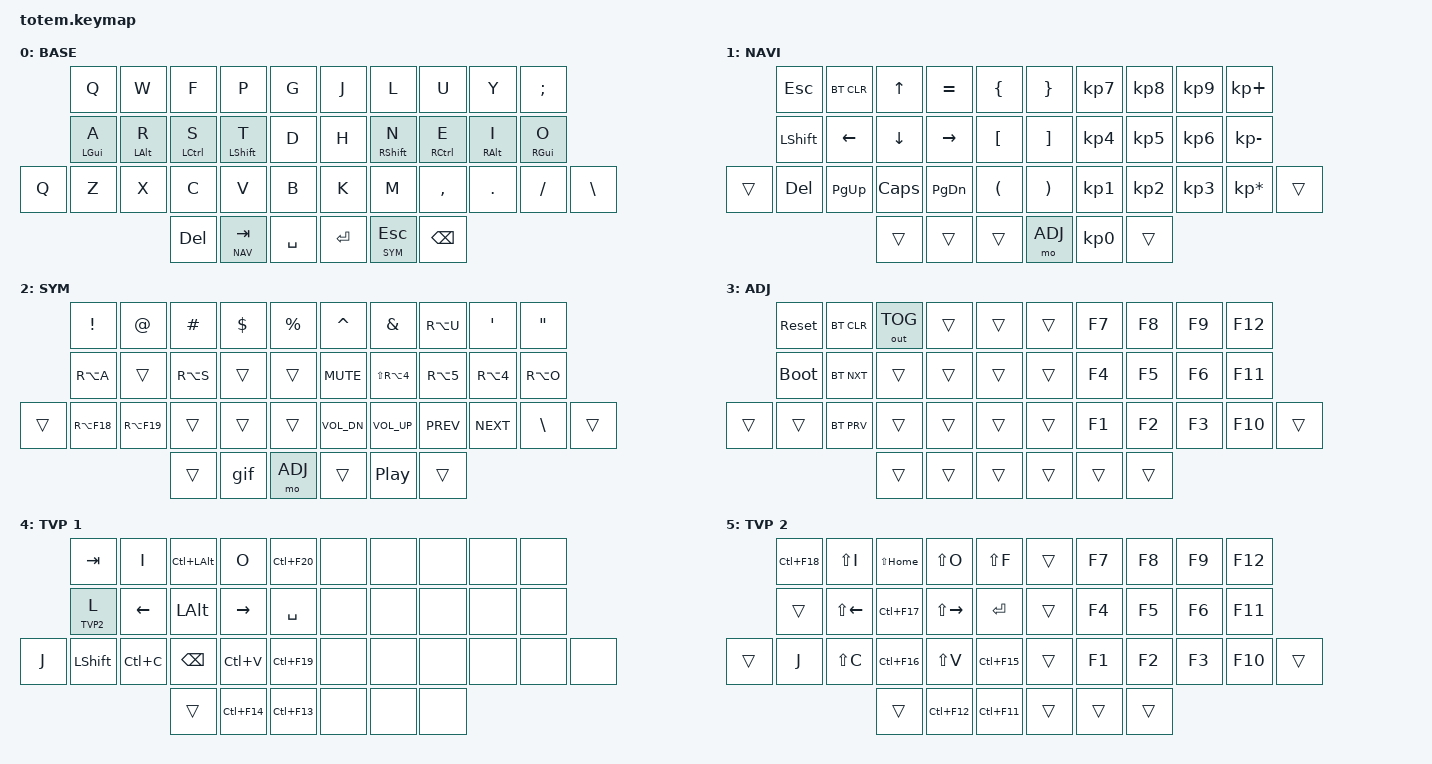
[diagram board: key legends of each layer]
//
//                                                        ▀▀▀▀▀     ▀▀▀▀▀          ▀▀█▀▀
//                                                        ▄▀▀▀▄  ▄  ▄▀▀▀▄  ▄  ▄▀▀▀▄  █  ▄▀▀▀▄
//                                                        █   █  █  █   █  █  █   █  █  █   █
//                                                         ▀▀▀   █   ▀▀▀   █   ▀▀▀   ▀   ▀▀▀
//                                                               █      ▄▄▄█▄▄▄    █   █  
//                                                               ▀      █  █  █     █▄█
//                                                             ▀▀▀▀▀    █  █  █      ▀
//                                                                      ▀  ▀  ▀
//
// ▄▄▄▄▄▄▄▄▄▄▄▄▄▄▄▄▄▄▄▄▄▄▄▄▄▄▄▄▄▄▄▄▄▄▄▄▄▄▄▄▄▄▄▄▄▄▄▄▄▄▄▄▄▄▄▄▄▄▄▄▄▄▄▄▄▄▄▄▄▄▄▄▄▄▄▄▄▄▄▄▄▄▄▄▄▄▄▄▄▄▄▄▄▄▄▄▄▄▄▄▄▄▄▄▄▄▄▄▄▄▄▄▄▄▄▄▄▄▄▄▄▄▄▄▄▄▄▄▄▄▄▄▄▄▄▄▄▄▄▄▄▄▄▄▄▄▄▄▄
       


#include <behaviors.dtsi>
#include <dt-bindings/zmk/keys.h>
#include <dt-bindings/zmk/bt.h>
#include <dt-bindings/zmk/outputs.h>

#define BASE 0
#define RIG  1
#define LEF  2
#define BT   3
#define NPAD 4
#define FPAD 5

#define NAV  1
#define SYM  2
#define ADJ  3
#define TVP1 4
#define TVP2 5

#define TAPPING_TERM 240
#define SHIFT_TAP_MS 180
#define QUICK_TAP_MS 150
#define SHORTCUT_MS  270
#define PRIOR_IDLE   150


&mt {
    flavor = "balanced";
    tapping-term-ms = <TAPPING_TERM>;
    quick-tap-ms = <QUICK_TAP_MS>;
    require-prior-idle-ms = <PRIOR_IDLE>;
};





#define COMBO(name, kp, pos)               \
combo_##name {                             \
    timeout-ms            = <30>;          \
    require-prior-idle-ms = <TAPPING_TERM>;\
    bindings              = <kp>;          \
    key-positions         = <pos>;         \
    layers                = <0 1>;         \
};

/ {
  combos {
        compatible = "zmk,combos";

        backspace {
            bindings = <&kp BACKSPACE>;
            key-positions = <16 17>;
        };

        delete {
            bindings = <&kp DELETE>;
            key-positions = <28 27>;
        };

        alttab {
            bindings = <&alttab_macro>;
            key-positions = <2 12>;
        };

        ctrlshift {
            bindings = <&ctrlshift_macro>;
            key-positions = <10 21>;
        };

        btcon {
            bindings = <&mo6>;
            key-positions = <4 20>;
        };

        layer2 {
            bindings = <&mo2>;
            key-positions = <32 33>;
        };

        layer5 {
            bindings = <&mo5>;
            key-positions = <34 33>;
        };
    };

    macros {
        // Combo macros

        alttab_macro: alttab_macro {
            compatible = "zmk,behavior-macro";
            #binding-cells = <0>;
            bindings = <&kp LEFT_ALT &kp TAB>;
            label = "ALTTAB";
        };

        ctrlshift_macro: ctrlshift_macro {
            compatible = "zmk,behavior-macro";
            #binding-cells = <0>;
            bindings = <&kp LEFT_CTRL &kp LEFT_SHIFT>;
            label = "CTRL_SHIFT";
        };

        // Text macros

        aleft: aleft {
            compatible = "zmk,behavior-macro";
            #binding-cells = <0>;
            bindings = <&kp LEFT_ALT &kp H &kp G &kp A &kp L>;
            label = "ALEFT";
        };

        aright: aright {
            compatible = "zmk,behavior-macro";
            #binding-cells = <0>;
            bindings = <&kp LEFT_ALT &kp H &kp G &kp A &kp R>;
            label = "ARIGHT";
        };

        atop: atop {
            compatible = "zmk,behavior-macro";
            #binding-cells = <0>;
            bindings = <&kp LEFT_ALT &kp H &kp G &kp A &kp T>;
            label = "ATOP";
        };

        acenter: acenter {
            compatible = "zmk,behavior-macro";
            #binding-cells = <0>;
            bindings = <&kp LEFT_ALT &kp H &kp G &kp A &kp C>;
            label = "AMIDDLE";
        };

        abottom: abottom {
            compatible = "zmk,behavior-macro";
            #binding-cells = <0>;
            bindings = <&kp LEFT_ALT &kp H &kp G &kp A &kp B>;
            label = "ABOTTOM";
        };

        trsimage: trsimage {
            compatible = "zmk,behavior-macro";
            #binding-cells = <0>;
            bindings = <&kp LEFT_ALT &kp J &kp P &kp I &kp S>;
            label = "TRSIMAGE";
        };

        amid: amid {
            compatible = "zmk,behavior-macro";
            #binding-cells = <0>;
            bindings = <&kp LEFT_ALT &kp H &kp G &kp A &kp M>;
            label = "AMID";
        };

        Horizontal: Horizontal {
            compatible = "zmk,behavior-macro";
            #binding-cells = <0>;
            bindings = <&kp LEFT_ALT &kp H &kp G &kp A &kp H>;
            label = "HORIZONTAL";
        };

        Vertical: Vertical {
            compatible = "zmk,behavior-macro";
            #binding-cells = <0>;
            bindings = <&kp LEFT_ALT &kp H &kp G &kp A &kp V>;
            label = "VERTICAL";
        };

        PW: PW {
            compatible = "zmk,behavior-macro";
            #binding-cells = <0>;
            bindings = <&kp LEFT_SHIFT &kp S &kp C &kp H &kp O &kp O &kp N1 &kp N4 &kp T &kp H &kp E &kp W &kp EXCL &kp N>;
            label = "PW";
        };

        Thx: Thx {
            compatible = "zmk,behavior-macro";
            #binding-cells = <0>;
            bindings = <&kp LEFT_SHIFT &kp T &kp H &kp A &kp N &kp K &kp SPACE &kp Y &kp O &kp U &kp COMMA &kp ENTER &kp LEFT_SHIFT &kp A &kp N &kp D &kp R &kp E &kp W>;
            label = "THX";
        };

        LineDel: LineDel {
            compatible = "zmk,behavior-macro";
            #binding-cells = <0>;
            bindings = <&kp HOME &kp RIGHT_SHIFT &kp END>;
            label = "LINEDEL";
        };

        BottomofCol: BottomofCol {
            compatible = "zmk,behavior-macro";
            #binding-cells = <0>;
            bindings = <&kp LEFT_CTRL &kp END &kp HOME>;
            label = "BOTTOMOFCOL";
        };
    };

        keymap {
                compatible = "zmk,keymap";
// ▄▄▄▄▄▄▄▄▄▄▄▄▄▄▄▄▄▄▄▄▄▄▄▄▄▄▄▄▄▄▄▄▄▄▄▄▄▄▄▄▄▄▄▄▄▄▄▄▄▄▄▄▄▄▄▄▄▄▄▄▄▄▄▄▄▄▄▄▄▄▄▄▄▄▄▄▄▄▄▄▄▄▄▄▄▄▄▄▄▄▄▄▄▄▄▄▄▄▄▄▄▄▄▄▄▄▄▄▄▄▄▄▄▄▄▄▄▄▄▄▄▄▄▄▄▄▄▄▄▄▄▄▄▄▄▄▄▄▄▄▄▄▄▄▄▄▄▄▄

                base_layer {
// ┏━━━━━━━━━━━━━━━━━━━━━━━━━━━━━━━━━━━━━━━┓
label= "BASE"                              ;
// ┗━━━━━━━━━━━━━━━━━━━━━━━━━━━━━━━━━━━━━━━┛
//             ┏━━━━━━━━━━━┳━━━━━━━━━━━┳━━━━━━━━━━━┳━━━━━━━━━━━┳━━━━━━━━━━━┓   ┏━━━━━━━━━━━┳━━━━━━━━━━━┳━━━━━━━━━━━┳━━━━━━━━━━━┳━━━━━━━━━━━┓
//             ┃     Q     ┃     W     ┃     F     ┃     P     ┃     G     ┃   ┃     J     ┃     L     ┃     U     ┃     Y     ┃     ;     ┃
//             ┣━━━━━━━━━━━╋━━━━━━━━━━━╋━━━━━━━━━━━╋━━━━━━━━━━━╋━━━━━━━━━━━┫   ┣━━━━━━━━━━━╋━━━━━━━━━━━╋━━━━━━━━━━━╋━━━━━━━━━━━╋━━━━━━━━━━━┫
//             ┃     A     ┃     R     ┃     S     ┃     T     ┃     D     ┃   ┃     H     ┃     N     ┃     E     ┃     I     ┃     O     ┃
// ┏━━━━━━━━━━━╋━━━━━━━━━━━╋━━━━━━━━━━━╋━━━━━━━━━━━╋━━━━━━━━━━━╋━━━━━━━━━━━┫   ┣━━━━━━━━━━━╋━━━━━━━━━━━╋━━━━━━━━━━━╋━━━━━━━━━━━╋━━━━━━━━━━━╋━━━━━━━━━━━┓
// ┃     Q     ┃     Z     ┃     X     ┃     C     ┃     V     ┃     B     ┃   ┃     K     ┃     M     ┃     ,     ┃     .     ┃     /     ┃     \     ┃
// ┗━━━━━━━━━━━┻━━━━━━━━━━━┻━━━━━━━━━━━╋━━━━━━━━━━━╋━━━━━━━━━━━╋━━━━━━━━━━━┫   ┣━━━━━━━━━━━╋━━━━━━━━━━━╋━━━━━━━━━━━╋━━━━━━━━━━━┻━━━━━━━━━━━┻━━━━━━━━━━━┛
//                                     ┃    DEL    ┃    TAB    ┃    SPC    ┃   ┃   ENTER   ┃           ┃   BSPC    ┃
//                                     ┗━━━━━━━━━━━┻━━━━━━━━━━━┻━━━━━━━━━━━┛   ┗━━━━━━━━━━━┻━━━━━━━━━━━┻━━━━━━━━━━━┛
 bindings = <
// ╷           ╷           ╷           ╷           ╷           ╷           ╷   ╷           ╷           ╷           ╷           ╷           ╷           ╷

                &kp Q       &kp W       &kp F       &kp P       &kp G           &kp J       &kp L       &kp U       &kp Y       &kp SEMI
                &mt LGUI A  &mt LALT R  &mt LCTRL S &mt LSHFT T &kp D           &kp H       &mt RSHFT N &mt RCTRL E &mt RALT I  &mt RGUI O
    &kp Q       &kp Z       &kp X       &kp C       &kp V       &kp B           &kp K       &kp M       &kp COMMA   &kp DOT     &kp FSLH    &kp BSLH
                                        &kp DEL   &lt NAV TAB   &kp SPACE       &kp RET   &lt SYM ESC   &kp BSPC
                        >;
                };

// ▄▄▄▄▄▄▄▄▄▄▄▄▄▄▄▄▄▄▄▄▄▄▄▄▄▄▄▄▄▄▄▄▄▄▄▄▄▄▄▄▄▄▄▄▄▄▄▄▄▄▄▄▄▄▄▄▄▄▄▄▄▄▄▄▄▄▄▄▄▄▄▄▄▄▄▄▄▄▄▄▄▄▄▄▄▄▄▄▄▄▄▄▄▄▄▄▄▄▄▄▄▄▄▄▄▄▄▄▄▄▄▄▄▄▄▄▄▄▄▄▄▄▄▄▄▄▄▄▄▄▄▄▄▄▄▄▄▄▄▄▄▄▄▄▄▄▄▄▄


                nav_layer {
// ┏━━━━━━━━━━━━━━━━━━━━━━━━━━━━━━━━━━━━━━━┓
label= "NAVI"                              ;
// ┗━━━━━━━━━━━━━━━━━━━━━━━━━━━━━━━━━━━━━━━┛
//             ┏━━━━━━━━━━━┳━━━━━━━━━━━┳━━━━━━━━━━━┳━━━━━━━━━━━┳━━━━━━━━━━━┓   ┏━━━━━━━━━━━┳━━━━━━━━━━━┳━━━━━━━━━━━┳━━━━━━━━━━━┳━━━━━━━━━━━┓
//             ┃           ┃           ┃     UP    ┃           ┃     {     ┃   ┃     }     ┃     7     ┃     8     ┃     9     ┃     +     ┃
//             ┣━━━━━━━━━━━╋━━━━━━━━━━━╋━━━━━━━━━━━╋━━━━━━━━━━━╋━━━━━━━━━━━┫   ┣━━━━━━━━━━━╋━━━━━━━━━━━╋━━━━━━━━━━━╋━━━━━━━━━━━╋━━━━━━━━━━━┫
//             ┃   SHIFT   ┃   LEFT    ┃    DOWN   ┃   RIGHT   ┃     [     ┃   ┃     ]     ┃     4     ┃     5     ┃     6     ┃     -     ┃
// ┏━━━━━━━━━━━╋━━━━━━━━━━━╋━━━━━━━━━━━╋━━━━━━━━━━━╋━━━━━━━━━━━╋━━━━━━━━━━━┫   ┣━━━━━━━━━━━╋━━━━━━━━━━━╋━━━━━━━━━━━╋━━━━━━━━━━━╋━━━━━━━━━━━╋━━━━━━━━━━━┓
// ┃           ┃           ┃   P UP    ┃  C LOCK   ┃  P DOWN   ┃     (     ┃   ┃     )     ┃     1     ┃     2     ┃     3     ┃     *     ┃           ┃
// ┗━━━━━━━━━━━┻━━━━━━━━━━━┻━━━━━━━━━━━╋━━━━━━━━━━━╋━━━━━━━━━━━╋━━━━━━━━━━━┫   ┣━━━━━━━━━━━╋━━━━━━━━━━━╋━━━━━━━━━━━╋━━━━━━━━━━━┻━━━━━━━━━━━┻━━━━━━━━━━━┛
//                                     ┃           ┃    TAB    ┃    SPC    ┃   ┃    DEL    ┃     0     ┃           ┃
//                                     ┗━━━━━━━━━━━┻━━━━━━━━━━━┻━━━━━━━━━━━┛   ┗━━━━━━━━━━━┻━━━━━━━━━━━┻━━━━━━━━━━━┛
 bindings = <
// ╷           ╷           ╷           ╷           ╷           ╷           ╷   ╷           ╷           ╷           ╷           ╷           ╷           ╷

                &kp ESC     &bt BT_CLR  &kp UP      &kp EQUAL   &kp LBRC        &kp RBRC    &kp KP_N7   &kp KP_N8   &kp KP_N9   &kp KP_PLUS
                &kp LSHFT   &kp LEFT    &kp DOWN    &kp RIGHT   &kp LBKT        &kp RBKT    &kp KP_N4   &kp KP_N5   &kp KP_N6   &kp KP_MINUS
    &trans      &kp DEL     &kp PG_UP   &kp CAPS    &kp PG_DN   &kp LPAR        &kp RPAR    &kp KP_N1   &kp KP_N2   &kp KP_N3   &kp KP_MULTIPLY &trans      
                                        &trans      &trans      &trans          &mo ADJ     &kp KP_N0   &trans      
                        >;
                };

// ▄▄▄▄▄▄▄▄▄▄▄▄▄▄▄▄▄▄▄▄▄▄▄▄▄▄▄▄▄▄▄▄▄▄▄▄▄▄▄▄▄▄▄▄▄▄▄▄▄▄▄▄▄▄▄▄▄▄▄▄▄▄▄▄▄▄▄▄▄▄▄▄▄▄▄▄▄▄▄▄▄▄▄▄▄▄▄▄▄▄▄▄▄▄▄▄▄▄▄▄▄▄▄▄▄▄▄▄▄▄▄▄▄▄▄▄▄▄▄▄▄▄▄▄▄▄▄▄▄▄▄▄▄▄▄▄▄▄▄▄▄▄▄▄▄▄▄▄▄


                sim_layer {
// ┏━━━━━━━━━━━━━━━━━━━━━━━━━━━━━━━━━━━━━━━┓
label= "SYM"                               ;
// ┗━━━━━━━━━━━━━━━━━━━━━━━━━━━━━━━━━━━━━━━┛
//             ┏━━━━━━━━━━━┳━━━━━━━━━━━┳━━━━━━━━━━━┳━━━━━━━━━━━┳━━━━━━━━━━━┓   ┏━━━━━━━━━━━┳━━━━━━━━━━━┳━━━━━━━━━━━┳━━━━━━━━━━━┳━━━━━━━━━━━┓
//             ┃     !     ┃     @     ┃     #     ┃     $     ┃     %     ┃   ┃     ˆ     ┃     &     ┃     Ü     ┃     '     ┃     "     ┃
//             ┣━━━━━━━━━━━╋━━━━━━━━━━━╋━━━━━━━━━━━╋━━━━━━━━━━━╋━━━━━━━━━━━┫   ┣━━━━━━━━━━━╋━━━━━━━━━━━╋━━━━━━━━━━━╋━━━━━━━━━━━╋━━━━━━━━━━━┫
//             ┃     Ä     ┃           ┃    SZ     ┃           ┃           ┃   ┃   MUTE    ┃   YEN     ┃   EURO    ┃  POUND    ┃     Ö     ┃
// ┏━━━━━━━━━━━╋━━━━━━━━━━━╋━━━━━━━━━━━╋━━━━━━━━━━━╋━━━━━━━━━━━╋━━━━━━━━━━━┫   ┣━━━━━━━━━━━╋━━━━━━━━━━━╋━━━━━━━━━━━╋━━━━━━━━━━━╋━━━━━━━━━━━╋━━━━━━━━━━━┓
// ┃           ┃  EMAIL1   ┃  EMAIL2   ┃           ┃           ┃           ┃   ┃   VOL-    ┃   VOL+    ┃   LAST    ┃   NEXT    ┃     \     ┃           ┃
// ┗━━━━━━━━━━━┻━━━━━━━━━━━┻━━━━━━━━━━━╋━━━━━━━━━━━╋━━━━━━━━━━━╋━━━━━━━━━━━┫   ┣━━━━━━━━━━━╋━━━━━━━━━━━╋━━━━━━━━━━━╋━━━━━━━━━━━┻━━━━━━━━━━━┻━━━━━━━━━━━┛
//                                     ┃           ┃    GIF    ┃    ADJ    ┃   ┃           ┃           ┃           ┃
//                                     ┗━━━━━━━━━━━┻━━━━━━━━━━━┻━━━━━━━━━━━┛   ┗━━━━━━━━━━━┻━━━━━━━━━━━┻━━━━━━━━━━━┛
 bindings = <
// ╷           ╷           ╷           ╷           ╷           ╷           ╷   ╷           ╷           ╷           ╷           ╷           ╷           ╷

                &kp EXCL    &kp AT      &kp HASH    &kp DLLR    &kp PRCNT       &kp CARET   &kp AMPS    &kp RA(U)   &kp SQT     &kp DQT       
                &kp RA(A)   &trans      &kp RA(S)   &trans      &trans          &kp C_MUTE  &kp LS(RA(N4)) &kp RA(N5) &kp RA(N4)   &kp RA(O) 
    &trans      &kp RA(F18) &kp RA(F19) &trans      &trans      &trans          &kp C_VOL_DN &kp C_VOL_UP &kp C_PREV &kp C_NEXT  &kp BSLH   &trans         
                                        &trans      &gif        &mo ADJ         &trans      &kp C_PP    &trans      
                        >;
                };

// ▄▄▄▄▄▄▄▄▄▄▄▄▄▄▄▄▄▄▄▄▄▄▄▄▄▄▄▄▄▄▄▄▄▄▄▄▄▄▄▄▄▄▄▄▄▄▄▄▄▄▄▄▄▄▄▄▄▄▄▄▄▄▄▄▄▄▄▄▄▄▄▄▄▄▄▄▄▄▄▄▄▄▄▄▄▄▄▄▄▄▄▄▄▄▄▄▄▄▄▄▄▄▄▄▄▄▄▄▄▄▄▄▄▄▄▄▄▄▄▄▄▄▄▄▄▄▄▄▄▄▄▄▄▄▄▄▄▄▄▄▄▄▄▄▄▄▄▄▄


                adjust_layer {
// ┏━━━━━━━━━━━━━━━━━━━━━━━━━━━━━━━━━━━━━━━┓
label= "ADJ"                               ;
// ┗━━━━━━━━━━━━━━━━━━━━━━━━━━━━━━━━━━━━━━━┛
//             ┏━━━━━━━━━━━┳━━━━━━━━━━━┳━━━━━━━━━━━┳━━━━━━━━━━━┳━━━━━━━━━━━┓   ┏━━━━━━━━━━━┳━━━━━━━━━━━┳━━━━━━━━━━━┳━━━━━━━━━━━┳━━━━━━━━━━━┓
//             ┃   RESET   ┃ BT CLEAR  ┃  OUT TOG  ┃           ┃           ┃   ┃           ┃    F7     ┃    F8     ┃    F9     ┃    F12    ┃
//             ┣━━━━━━━━━━━╋━━━━━━━━━━━╋━━━━━━━━━━━╋━━━━━━━━━━━╋━━━━━━━━━━━┫   ┣━━━━━━━━━━━╋━━━━━━━━━━━╋━━━━━━━━━━━╋━━━━━━━━━━━╋━━━━━━━━━━━┫
//             ┃ BOOTLOAD  ┃ BT NEXT   ┃           ┃           ┃           ┃   ┃           ┃    F4     ┃    F5     ┃    F6     ┃    F11    ┃
// ┏━━━━━━━━━━━╋━━━━━━━━━━━╋━━━━━━━━━━━╋━━━━━━━━━━━╋━━━━━━━━━━━╋━━━━━━━━━━━┫   ┣━━━━━━━━━━━╋━━━━━━━━━━━╋━━━━━━━━━━━╋━━━━━━━━━━━╋━━━━━━━━━━━╋━━━━━━━━━━━┓
// ┃           ┃           ┃ BT PREV   ┃           ┃           ┃           ┃   ┃           ┃    F1     ┃    F2     ┃    F3     ┃    F10    ┃           ┃
// ┗━━━━━━━━━━━┻━━━━━━━━━━━┻━━━━━━━━━━━╋━━━━━━━━━━━╋━━━━━━━━━━━╋━━━━━━━━━━━┫   ┣━━━━━━━━━━━╋━━━━━━━━━━━╋━━━━━━━━━━━╋━━━━━━━━━━━┻━━━━━━━━━━━┻━━━━━━━━━━━┛
//                                     ┃           ┃           ┃           ┃   ┃           ┃           ┃           ┃
//                                     ┗━━━━━━━━━━━┻━━━━━━━━━━━┻━━━━━━━━━━━┛   ┗━━━━━━━━━━━┻━━━━━━━━━━━┻━━━━━━━━━━━┛
 bindings = <
// ╷           ╷           ╷           ╷           ╷           ╷           ╷   ╷           ╷           ╷           ╷           ╷           ╷           ╷

                &sys_reset  &bt BT_CLR &out OUT_TOG &trans      &trans          &trans      &kp F7      &kp F8      &kp F9      &kp F12
                &bootloader &bt BT_NXT  &trans      &trans      &trans          &trans      &kp F4      &kp F5      &kp F6      &kp F11  
    &trans      &trans      &bt BT_PRV  &trans      &trans      &trans          &trans      &kp F1      &kp F2      &kp F3      &kp F10     &trans         
                                        &trans      &trans      &trans          &trans      &trans      &trans      
                        >;
                };

// ▄▄▄▄▄▄▄▄▄▄▄▄▄▄▄▄▄▄▄▄▄▄▄▄▄▄▄▄▄▄▄▄▄▄▄▄▄▄▄▄▄▄▄▄▄▄▄▄▄▄▄▄▄▄▄▄▄▄▄▄▄▄▄▄▄▄▄▄▄▄▄▄▄▄▄▄▄▄▄▄▄▄▄▄▄▄▄▄▄▄▄▄▄▄▄▄▄▄▄▄▄▄▄▄▄▄▄▄▄▄▄▄▄▄▄▄▄▄▄▄▄▄▄▄▄▄▄▄▄▄▄▄▄▄▄▄▄▄▄▄▄▄▄▄▄▄▄▄▄


                tvp1_layer {
// ┏━━━━━━━━━━━━━━━━━━━━━━━━━━━━━━━━━━━━━━━┓
label= "TVP 1"                             ;
// ┗━━━━━━━━━━━━━━━━━━━━━━━━━━━━━━━━━━━━━━━┛
//             ┏━━━━━━━━━━━┳━━━━━━━━━━━┳━━━━━━━━━━━┳━━━━━━━━━━━┳━━━━━━━━━━━┓   ┏━━━━━━━━━━━┳━━━━━━━━━━━┳━━━━━━━━━━━┳━━━━━━━━━━━┳━━━━━━━━━━━┓
//             ┃ NEXT FILE ┃ MARK IN   ┃ ROTATE    ┃ MARK OUT  ┃ SHOW SNAP ┃   ┃           ┃           ┃           ┃           ┃           ┃
//             ┣━━━━━━━━━━━╋━━━━━━━━━━━╋━━━━━━━━━━━╋━━━━━━━━━━━╋━━━━━━━━━━━┫   ┣━━━━━━━━━━━╋━━━━━━━━━━━╋━━━━━━━━━━━╋━━━━━━━━━━━╋━━━━━━━━━━━┫
//             ┃ TVP II    ┃ LEFT      ┃ PAN       ┃ RIGHT     ┃ PLAY/FLIP ┃   ┃           ┃           ┃           ┃           ┃           ┃
// ┏━━━━━━━━━━━╋━━━━━━━━━━━╋━━━━━━━━━━━╋━━━━━━━━━━━╋━━━━━━━━━━━╋━━━━━━━━━━━┫   ┣━━━━━━━━━━━╋━━━━━━━━━━━╋━━━━━━━━━━━╋━━━━━━━━━━━╋━━━━━━━━━━━╋━━━━━━━━━━━┓
// ┃ FULLSCR   ┃ SHIFT     ┃ COPY      ┃ DELETE    ┃ PASTE     ┃ IMG MARK  ┃   ┃           ┃           ┃           ┃           ┃           ┃           ┃
// ┗━━━━━━━━━━━┻━━━━━━━━━━━┻━━━━━━━━━━━╋━━━━━━━━━━━╋━━━━━━━━━━━╋━━━━━━━━━━━┫   ┣━━━━━━━━━━━╋━━━━━━━━━━━╋━━━━━━━━━━━╋━━━━━━━━━━━┻━━━━━━━━━━━┻━━━━━━━━━━━┛
//                                     ┃           ┃ UNDO/SAVE ┃  SEL/MOV  ┃   ┃           ┃           ┃           ┃
//                                     ┗━━━━━━━━━━━┻━━━━━━━━━━━┻━━━━━━━━━━━┛   ┗━━━━━━━━━━━┻━━━━━━━━━━━┻━━━━━━━━━━━┛
 bindings = <
// ╷           ╷           ╷           ╷           ╷           ╷           ╷   ╷           ╷           ╷           ╷           ╷           ╷           ╷

                &kp TAB     &kp I       &kp LC(LALT) &kp O      &kp LC(F20)     &none       &none       &none       &none       &none
                &lt TVP2 L  &kp LEFT    &kp LALT    &kp RIGHT   &kp SPACE       &none       &none       &none       &none       &none
    &kp J       &kp LSHFT   &kp LC(C)   &kp BSPC    &kp LC(V)   &kp LC(F19)     &none       &none       &none       &none       &none       &none        
                                        &trans      &kp LC(F14) &kp LC(F13)     &none       &none       &none    
                        >;
                };

// ▄▄▄▄▄▄▄▄▄▄▄▄▄▄▄▄▄▄▄▄▄▄▄▄▄▄▄▄▄▄▄▄▄▄▄▄▄▄▄▄▄▄▄▄▄▄▄▄▄▄▄▄▄▄▄▄▄▄▄▄▄▄▄▄▄▄▄▄▄▄▄▄▄▄▄▄▄▄▄▄▄▄▄▄▄▄▄▄▄▄▄▄▄▄▄▄▄▄▄▄▄▄▄▄▄▄▄▄▄▄▄▄▄▄▄▄▄▄▄▄▄▄▄▄▄▄▄▄▄▄▄▄▄▄▄▄▄▄▄▄▄▄▄▄▄▄▄▄▄


                tvp2_layer {
// ┏━━━━━━━━━━━━━━━━━━━━━━━━━━━━━━━━━━━━━━━┓
label= "TVP 2"                             ;
// ┗━━━━━━━━━━━━━━━━━━━━━━━━━━━━━━━━━━━━━━━┛
//             ┏━━━━━━━━━━━┳━━━━━━━━━━━┳━━━━━━━━━━━┳━━━━━━━━━━━┳━━━━━━━━━━━┓   ┏━━━━━━━━━━━┳━━━━━━━━━━━┳━━━━━━━━━━━┳━━━━━━━━━━━┳━━━━━━━━━━━┓
//             ┃ SOLO      ┃ TOGGLE IN ┃ RESET ROT ┃ TOGGLE OUT┃ TAKE SNAP ┃   ┃           ┃           ┃           ┃           ┃           ┃
//             ┣━━━━━━━━━━━╋━━━━━━━━━━━╋━━━━━━━━━━━╋━━━━━━━━━━━╋━━━━━━━━━━━┫   ┣━━━━━━━━━━━╋━━━━━━━━━━━╋━━━━━━━━━━━╋━━━━━━━━━━━╋━━━━━━━━━━━┫
//             ┃ ---       ┃ LAST KEY  ┃ NEW KEY   ┃ NEXT KEY  ┃ ENTER     ┃   ┃           ┃           ┃           ┃           ┃           ┃
// ┏━━━━━━━━━━━╋━━━━━━━━━━━╋━━━━━━━━━━━╋━━━━━━━━━━━╋━━━━━━━━━━━╋━━━━━━━━━━━┫   ┣━━━━━━━━━━━╋━━━━━━━━━━━╋━━━━━━━━━━━╋━━━━━━━━━━━╋━━━━━━━━━━━╋━━━━━━━━━━━┓
// ┃           ┃ FULLSCR   ┃ CPY2BRUSH ┃ DEL HEAD  ┃ PSTinPLACE┃ BOOK MARK ┃   ┃           ┃           ┃           ┃           ┃           ┃           ┃
// ┗━━━━━━━━━━━┻━━━━━━━━━━━┻━━━━━━━━━━━╋━━━━━━━━━━━╋━━━━━━━━━━━╋━━━━━━━━━━━┫   ┣━━━━━━━━━━━╋━━━━━━━━━━━╋━━━━━━━━━━━╋━━━━━━━━━━━┻━━━━━━━━━━━┻━━━━━━━━━━━┛
//                                     ┃           ┃ REDO/SAV1 ┃TRANS/WARP ┃   ┃           ┃           ┃           ┃
//                                     ┗━━━━━━━━━━━┻━━━━━━━━━━━┻━━━━━━━━━━━┛   ┗━━━━━━━━━━━┻━━━━━━━━━━━┻━━━━━━━━━━━┛
 bindings = <
// ╷           ╷           ╷           ╷           ╷           ╷           ╷   ╷           ╷           ╷           ╷           ╷           ╷           ╷

                &kp LC(F18) &kp LS(I)  &kp LS(HOME) &kp LS(O)   &kp LS(F)       &trans      &kp F7      &kp F8      &kp F9      &kp F12
                &trans      &kp LS(LEFT) &kp LC(F17) &kp LS(RIGHT) &kp RET      &trans      &kp F4      &kp F5      &kp F6      &kp F11  
    &trans      &kp J       &kp LS(C)   &kp LC(F16) &kp LS(V)   &kp LC(F15)     &trans      &kp F1      &kp F2      &kp F3      &kp F10     &trans         
                                        &trans      &kp LC(F12) &kp LC(F11)     &trans      &trans      &trans      
                        >;
                };
        };
};
